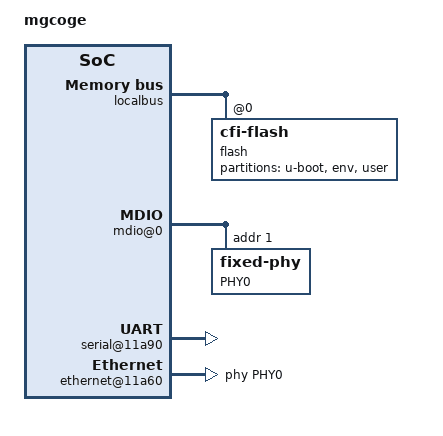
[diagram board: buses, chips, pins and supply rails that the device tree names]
/*
 * Device Tree for the MGCOGE Board from kexmile.
 *
 * Copyright 2007 Heiko Schocher <hs@denx.de>
 *
 * This program is free software; you can redistribute  it and/or modify it
 * under  the terms of  the GNU General  Public License as published by the
 * Free Software Foundation;  either version 2 of the  License, or (at your
 * option) any later version.
 */

/ {
	model = "mgcoge";
	compatible = "fsl,mgcoge";
	#address-cells = <1>;
	#size-cells = <1>;

	cpus {
		#address-cells = <1>;
		#size-cells = <0>;

		PowerPC,8247@0 {
			device_type = "cpu";
			reg = <0>;
			d-cache-line-size = <d#32>;
			i-cache-line-size = <d#32>;
			d-cache-size = <d#16384>;
			i-cache-size = <d#16384>;
			bus-frequency = <0>;
			timebase-frequency = <0>;
			clock-frequency = <0>;
		};
	};

	localbus {
		compatible = "fsl,mgcoge-localbus",
		             "fsl,mpc8247-localbus",
		             "fsl,pq2-localbus";
		#address-cells = <2>;
		#size-cells = <1>;
		reg = <f0010100 40>;

		ranges = <0 0 fe000000 00400000>;

		flash@0,0 {
			compatible = "cfi-flash";
			reg = <0 0 400000>;
			#address-cells = <1>;
			#size-cells = <1>;
			bank-width = <1>;
			device-width = <1>;
			partition@0 {
				label = "u-boot";
				reg = <0 40000>;
			};
			partition@40000 {
				label = "env";
				reg = <40000 20000>;
			};
			partition@60000 {
				label = "user";
				reg = <60000 3a0000>;
			};
		};
	};

	mdio@0 {
		device_type = "mdio";
		compatible = "fsl,mpc8272ads-mdio-bitbang",
		             "fsl,mpc8272-mdio-bitbang",
		             "fsl,cpm2-mdio-bitbang";
		reg = <4 14>;
		#address-cells = <1>;
		#size-cells = <0>;

		PHY0: fixed-phy@0 {
			reg = <1>;
		};
	};

	memory {
		device_type = "memory";
		reg = <0 0>;
	};

	soc@f0000000 {
		#address-cells = <1>;
		#size-cells = <1>;
		device_type = "soc";
		compatible = "fsl,mpc8247", "fsl,pq2-soc";
		ranges = <00000000 f0000000 00053000>;
		reg = <f0000000 00053000>;

		cpm@119c0 {
			#address-cells = <1>;
			#size-cells = <1>;
			#interrupt-cells = <2>;
			compatible = "fsl,mpc8247-cpm", "fsl,cpm2";
			reg = <119c0 30>;
			ranges;

			muram {
				#address-cells = <1>;
				#size-cells = <1>;
				ranges = <0 0 10000>;

				data@0 {
					compatible = "fsl,cpm-muram-data";
					reg = <0 1100 1100 40 8300 100 88fc 4>;
				};
			};

			brg@119f0 {
				compatible = "fsl,mpc8272-brg",
				             "fsl,cpm2-brg",
				             "fsl,cpm-brg";
				reg = <119f0 10 115f0 10>;
			};

			serial@11a90 {
				device_type = "serial";
				compatible = "fsl,mpc8247-smc-uart",
				             "cpm_uart",
				             "fsl,cpm2-smc-uart";
				model = "SMC";
				device-id = <2>;
				reg = <11a90 20 1100 40 88fc 4>;
				interrupts = <5 8>;
				interrupt-parent = <&PIC>;
				fsl,cpm-brg = <2>;
				fsl,cpm-command = <21200000>;
				current-speed = <1c200>;
			};

			ethernet@11a60 {
				device_type = "network";
				compatible = "fsl,mpc8272-scc-enet",
				             "fsl,cpm2-scc-enet";
				device-id = <4>;
				reg = <11A60 20 8300 100>;
				mac-address = [ 00 00 00 00 00 00 ];
				interrupts = <2b 8>;
				interrupt-parent = <&PIC>;
				linux,network-index = <0>;
				fsl,cpm-command = <ce00000>;
				phy-handle = <&PHY0>;
			};
		};

		PIC: interrupt-controller@10c00 {
			#interrupt-cells = <2>;
			interrupt-controller;
			reg = <10c00 80>;
			compatible = "fsl,mpc8247-pic", "fsl,pq2-pic";
		};
	};
};
